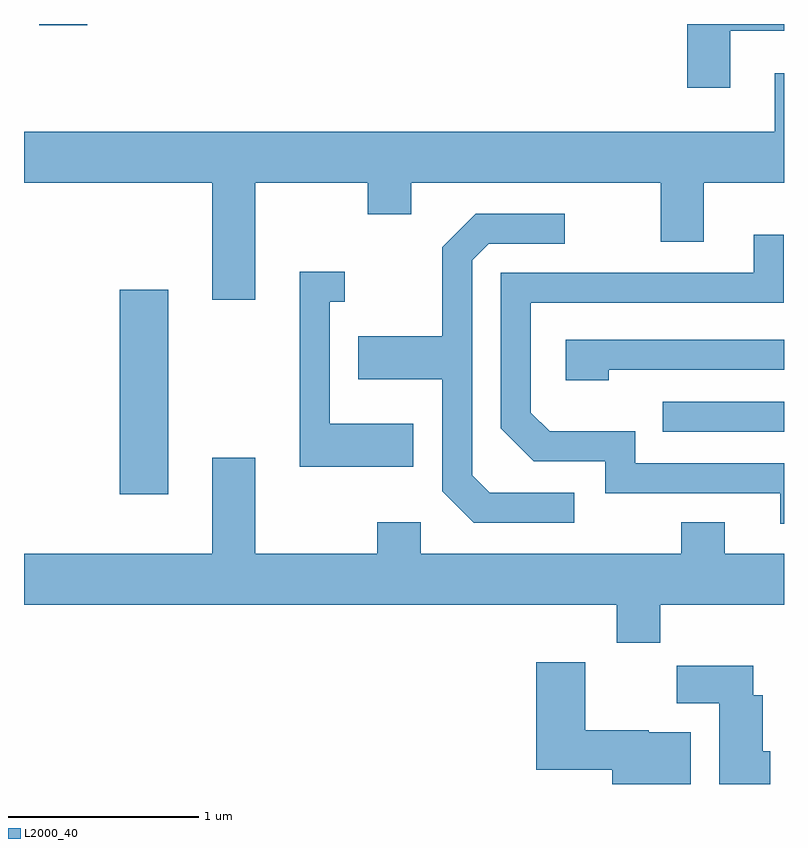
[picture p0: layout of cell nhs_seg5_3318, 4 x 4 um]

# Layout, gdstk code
import gdstk
lib = gdstk.Library(unit=1e-6, precision=1e-09)
def R(c, l, rs):  # rectangles x0, y0, x1, y1
    for r in rs: c.add(gdstk.rectangle(r[:2], r[2:], *l))
def P(c, l, *ps):  # polygons
    for p in ps: c.add(gdstk.Polygon(p, *l))
L2000_40 = (2000, 40)

nhs_seg5_3318 = lib.new_cell('nhs_seg5_3318')
R(nhs_seg5_3318, L2000_40, [(284.116,1459.596,284.369,1460.674), (286.973,1459.926,287.611,1460.084), (283.691,1462.066,283.944,1462.072)])
P(nhs_seg5_3318, L2000_40, [(287.329,1462.036),(287.611,1462.036),(287.611,1462.072),(287.101,1462.072),(287.101,1461.736),(287.329,1461.736)],
  [(284.829,1461.236),(285.421,1461.236),(285.421,1461.071),(285.649,1461.071),(285.649,1461.236),(286.961,1461.236),(286.961,1460.926),(287.189,1460.926),(287.189,1461.236),(287.611,1461.236),(287.611,1461.814),(287.561,1461.814),(287.561,1461.504),(283.611,1461.504),(283.611,1461.236),(284.601,1461.236),(284.601,1460.621),(284.829,1460.621)],
  [(286.508,1459.604),(286.062,1459.604),(285.969,1459.697),(285.969,1460.829),(286.057,1460.916),(286.458,1460.916),(286.458,1461.074),(285.989,1461.074),(285.811,1460.897),(285.811,1460.429),(285.371,1460.429),(285.371,1460.201),(285.811,1460.201),(285.811,1459.614),(285.979,1459.446),(286.508,1459.446)],
  [(287.611,1459.759),(286.829,1459.759),(286.829,1459.929),(286.377,1459.929),(286.279,1460.027),(286.279,1460.606),(287.609,1460.606),(287.609,1460.963),(287.451,1460.963),(287.451,1460.764),(286.121,1460.764),(286.121,1459.944),(286.294,1459.771),(286.671,1459.771),(286.671,1459.601),(287.591,1459.601),(287.591,1459.441),(287.611,1459.441)],
  [(285.659,1459.969),(285.219,1459.969),(285.219,1460.611),(285.298,1460.611),(285.298,1460.769),(285.061,1460.769),(285.061,1459.741),(285.659,1459.741)],
  [(286.689,1460.251),(287.611,1460.251),(287.611,1460.409),(286.461,1460.409),(286.461,1460.196),(286.689,1460.196)],
  [(286.959,1459.016),(287.611,1459.016),(287.611,1459.284),(287.299,1459.284),(287.299,1459.449),(287.071,1459.449),(287.071,1459.284),(285.699,1459.284),(285.699,1459.449),(285.471,1459.449),(285.471,1459.284),(284.829,1459.284),(284.829,1459.789),(284.601,1459.789),(284.601,1459.284),(283.611,1459.284),(283.611,1459.016),(286.731,1459.016),(286.731,1458.816),(286.959,1458.816)],
  [(287.119,1458.344),(286.9,1458.344),(286.9,1458.354),(286.564,1458.354),(286.564,1458.714),(286.306,1458.714),(286.306,1458.146),(286.706,1458.146),(286.706,1458.072),(287.119,1458.072)],
  [(287.539,1458.244),(287.499,1458.244),(287.499,1458.539),(287.449,1458.539),(287.449,1458.694),(287.046,1458.694),(287.046,1458.496),(287.271,1458.496),(287.271,1458.072),(287.539,1458.072)])

lib.write_gds('nhs_seg5_3318.gds')
